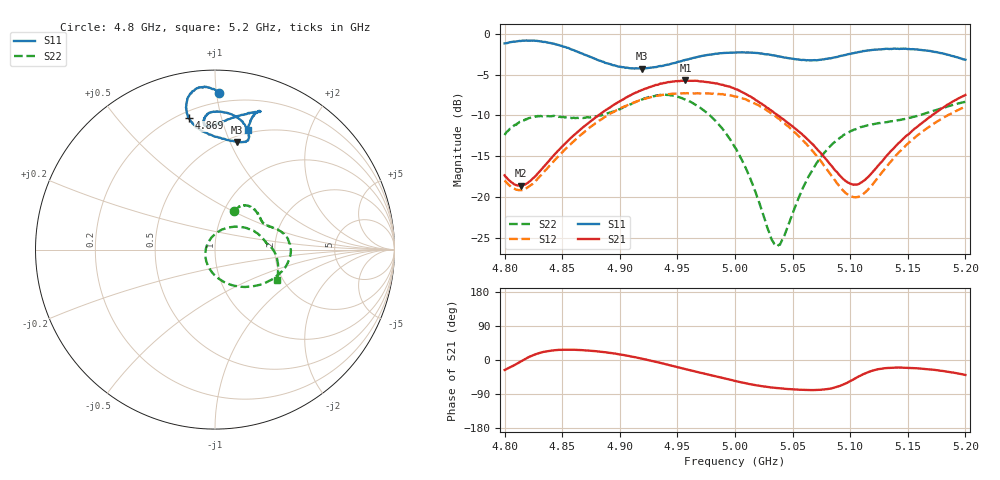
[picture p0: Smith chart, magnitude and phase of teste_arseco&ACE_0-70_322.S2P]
! Network Analyzer HP8722D
! Hewlett-Packard
! Data name: Linha & Wilkinson
! Saver's name: Rodrigo Anjos
! Comments: Teste da utilização de aquisição
! continua pelo VNA HP8722D
! Time and date: 8/5/2025 15:26
!  Frequency  S11  S21  S12  S22
# HZ  S  MA R 50
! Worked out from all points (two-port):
!   401 points, 4.8 GHz to 5.2 GHz, reference 50 ohm
!   highest |S21| = -5.72 dB at 4.957 GHz (marker M1); lowest = -18.6 dB at 4.814 GHz (marker M2)
!   |S21| within 3 dB of the highest: 4.895 GHz to 5.024 GHz (129.7 MHz wide, 2.62 % of centre); 5.184041 GHz to end of sweep
!   lowest |S11| = -4.3 dB at 4.919 GHz (marker M3), VSWR 4.15, Z = 27.8 + j53.2 ohm
!   |S11| at or under -10 dB: nowhere
!   |S22| runs from -26.0 to -7.5 dB; largest |S21 - S12| = 0.89
!   S11 on the Smith chart (normalised r, x): 4.8 GHz: 0.14, +1.02; 4.869 GHz: 0.24, +0.79; 5.2 GHz: 0.47, +1.20
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4.8e9  0.8729 88.4  0.1356 -26.4  0.1261 101.1  0.2393 63.5
4.814e9  0.9029 92.4  0.1173 -3.8  0.11 120.6  0.2897 57.7
4.845e9  0.8601 100.2  0.1871 26.2  0.1725 150.2  0.3123 39.5
4.867e9  0.7568 101.6  0.2629 26.1  0.2425 153.2  0.3053 30.2
4.869e9  0.7467 101.3  0.2703 25.8  0.2491 153.2  0.3049 29.6
4.896e9  0.6379 91.7  0.3711 16.9  0.3357 147.2  0.3376 22.1
4.919e9  0.612 78.3  0.452 3.7  0.3932 137.6  0.3953 12.7
4.934e9  0.632 73.6  0.4903 -6.7  0.4199 128.9  0.4199 2.3
4.957e9  0.6932 74.8  0.5177 -23.9  0.4312 114.5  0.3954 -16.9
4.98e9  0.7465 80.8  0.5008 -40.5  0.4283 100.0  0.3075 -40.7
5e9  0.769 87.4  0.4592 -55.2  0.4131 86.0  0.2009 -69.8
5.018e9  0.7636 92.2  0.391 -66.5  0.3709 73.7  0.1061 -108.7
5.03e9  0.7445 94.1  0.344 -71.8  0.3314 66.8  0.05983 -154.7
5.036e9  0.7322 94.8  0.3209 -73.9  0.3091 64.1  0.05054 168.1
5.041e9  0.7196 95.0  0.3019 -75.4  0.2899 62.1  0.05469 136.4
5.067e9  0.6878 92.6  0.2118 -79.2  0.1923 57.9  0.1452 58.2
5.083e9  0.7065 87.6  0.1573 -75.3  0.1372 63.5  0.2058 36.5
5.103e9  0.7603 79.4  0.1186 -51.0  0.09964 91.3  0.2578 19.3
5.114e9  0.7868 75.4  0.1296 -34.1  0.1083 110.6  0.273 13.3
5.134e9  0.8062 72.1  0.1862 -20.6  0.1608 125.7  0.2894 7.2
5.169e9  0.7847 73.8  0.3086 -24.7  0.2707 120.6  0.3304 -2.3
5.2e9  0.6935 74.7  0.4214 -39.4  0.3575 108.5  0.383 -26.1
